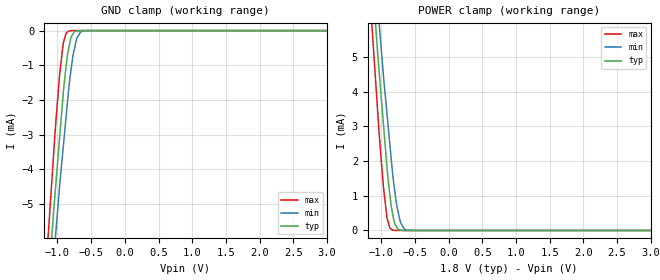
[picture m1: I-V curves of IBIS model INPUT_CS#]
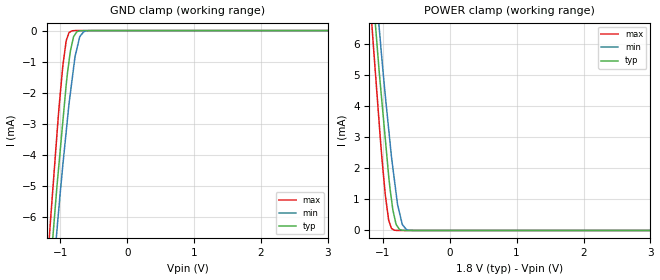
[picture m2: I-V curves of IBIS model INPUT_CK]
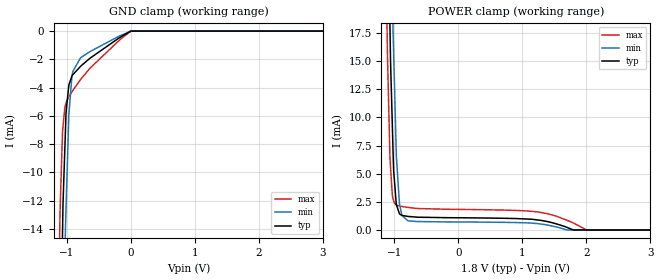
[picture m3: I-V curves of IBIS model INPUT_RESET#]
[IBIS ver] 4.0
[File name] s27ks0642ga-5j_85c.ibs
[File Rev] 1.0
[Date]  March 20, 2018
[Source] Cypress IBIS Team
[Notes]
CONTENTS:
These IBIS models are for the s27ks642 devices.
These models are for 24 ball BGA package
USAGE:
The models are derived for nominal 1.8V I/O voltage supplies.
The temperature range is -40 to 85C.
Package parasitics are included.
Refer to the model selector for the IO drive strength of interest.
Vinl and Vinh levels are VCCQ dependant and should be adjusted per datasheet
VERIFICATION
1. This model was syntax checked with IBISCHK V6.1.4
2. There are 0 parser errors and acceptable warnings.
HELP/QUESTIONS?
If there are any additional questions or concerns about using this
model, please create a technical support case at www.cypress.com/support
or call the technical support line at 408-943-2821 or 1-800-541-4763,
option 8.
[Disclaimer]   This information is for modeling purposes only and is not
   guaranteed.
[Component]   S27KS0642GA
[Manufacturer]  Cypress Semiconductor
[Package]
|   typ   min   max
R_pkg   222m   156m   290m
L_pkg   3.670n   2.140n   4.951n
C_pkg   0.430p   0.191p   0.647p
[Pin]  Signal_name   model_name   R_pin   L_pin   C_pin
D3   DQ0   DQ   190m   3.004n   0.347p
D2   DQ1   DQ   220m   3.818n   0.437p
C4   DQ2   DQ   162m   2.319n   0.369p
D4   DQ3   DQ   188m   2.928n   0.469p
D5   DQ4   DQ   278m   4.726n   0.647p
E3   DQ5   DQ   261m   4.156n   0.565p
E2   DQ6   DQ   249m   4.277n   0.412p
E1   DQ7   DQ   256m   4.599n   0.374p
C3   RWDS   DQ   157m   2.240n   0.439p
A3   CS#   INPUT_CS#   156m   2.683n   0.191p
B1   CK#   INPUT_CK   250m   4.302n   0.358p
B2   CK   INPUT_CK   248m   4.196n   0.354p
C5   PSC#   INPUT_CK   267m   4.719n   0.503p
B5   PSC   INPUT_CK   290m   4.951n   0.575p
A4   RESET#   INPUT_RESET# 157m   2.140n   0.404p
B4   VCC   POWER
D1   VCCQ   POWER
E4   VCCQ   POWER
B3   VSS   GND
C1   VSSQ   GND
E5   VSSQ   GND
|   Model Selector DQ
[Model Selector] DQ
ADQ_ds115   00-115ohm strength
ADQ_ds67   00-67ohm  strength
ADQ_ds46   00-46ohm  strength
ADQ_ds34   00-34ohm  strength (default)
ADQ_ds27   00-27ohm  strength
ADQ_ds22   00-22ohm  strength
ADQ_ds19   00-19ohm  strength
| Models and submodels in the file (10): INPUT_CS# (Input), INPUT_CK (Input), INPUT_RESET# (Input), ADQ_ds115 (I/O), ADQ_ds67 (I/O), ADQ_ds46 (I/O), ADQ_ds34 (I/O), ADQ_ds27 (I/O), ADQ_ds22 (I/O), ADQ_ds19 (I/O)
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[Model]   INPUT_CS#
Model_type   Input
Vinl = 0.54
Vinh = 1.26
|   typ   min   max
C_comp   0.63pF   0.62pF   0.64pF
[Voltage Range]   1.8   1.7   2
[Temperature Range]   25   85   -40
[Power Clamp Reference]   1.8   1.7   2
[GND Clamp Reference]   0   0   0
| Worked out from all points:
|   GND clamp passes 1 mA (typ) near -0.87 V on its own axis
|   POWER clamp passes 1 mA (typ) near -0.87 V on its own axis
[GND Clamp]
|   Voltage   I(typ)   I(min)   I(max)
-1.802V   -26.37mA   -25.79mA   -27.25mA
-1.156V   -7.863mA   -8.991mA   -6.417mA
-1.13V    -7.17mA    -8.341mA   -5.666mA
-1.079V   -5.799mA   -7.092mA   -4.183mA
-1.02V    -4.315mA   -5.699mA   -2.514mA
-966mV    -3.032mA   -4.428mA   -1.221mA
-916mV    -1.844mA   -3.383mA   -383.4uA
-828mV    -455.2uA   -1.585mA   -9.711uA
-769.8mV  -93.53uA   -713.8uA   -693.2nA
-717.1mV  -12.21uA   -242.1uA   -64.16nA
-604.9mV  -235.2nA   -8.837uA   0A
3.604V    0A         0A         0A
[POWER Clamp]
|   Voltage   I(typ)   I(min)   I(max)
-1.802V   26.37mA    25.79mA    27.25mA
-1.156V   7.863mA    8.991mA    6.417mA
-1.13V    7.17mA     8.341mA    5.666mA
-1.079V   5.799mA    7.092mA    4.183mA
-1.02V    4.315mA    5.699mA    2.514mA
-966mV    3.032mA    4.428mA    1.221mA
-916mV    1.844mA    3.383mA    383.4uA
-828mV    455.2uA    1.585mA    9.711uA
-769.8mV  93.53uA    713.8uA    692.9nA
-717.1mV  12.21uA    242.1uA    63.87nA
-604.9mV  235nA      8.837uA    0A
3.604V    0A         0A         0A
[Model]   INPUT_CK
Model_type   Input
Vinl = 0.54
Vinh = 1.26
|   typ   min   max
C_comp   0.63pF   0.62pF   0.64pF
[Voltage Range]   1.8   1.7   2
[Temperature Range]   25   85   -40
[Power Clamp Reference]   1.8   1.7   2
[GND Clamp Reference]   0   0   0
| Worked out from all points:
|   GND clamp passes 1 mA (typ) near -0.87 V on its own axis
|   POWER clamp passes 1 mA (typ) near -0.87 V on its own axis
[GND Clamp]
|   Voltage   I(typ)   I(min)   I(max)
-1.802V   -26.37mA   -25.8mA    -27.26mA
-1.176V   -8.4mA     -9.542mA   -7.027mA
-1.142V   -7.488mA   -8.704mA   -5.996mA
-1.05V    -5.03mA    -6.442mA   -3.355mA
-962mV    -2.938mA   -4.334mA   -1.136mA
-912mV    -1.754mA   -3.266mA   -331.3uA
-849.6mV  -667.7uA   -2.021mA   -38.34uA
-824mV    -416uA     -1.588mA   -7.322uA
-780mV    -127.7uA   -842.8uA   -921.1nA
-708.6mV  -8.319uA   -192.9uA   -42.86nA
-630.4mV  -553.8nA   -19.77uA   0A
3.604V    0A         0A         0A
[POWER Clamp]
|   Voltage   I(typ)   I(min)   I(max)
-1.802V   26.37mA    25.8mA     27.26mA
-1.176V   8.4mA      9.542mA    7.027mA
-1.142V   7.488mA    8.704mA    5.996mA
-1.05V    5.03mA     6.442mA    3.355mA
-962mV    2.938mA    4.334mA    1.136mA
-912mV    1.754mA    3.266mA    331.3uA
-849.6mV  667.7uA    2.021mA    38.34uA
-824mV    416uA      1.588mA    7.322uA
-780mV    127.7uA    842.8uA    920.8nA
-708.6mV  8.318uA    192.9uA    42.56nA
-630.4mV  553.6nA    19.77uA    0A
3.604V    0A         0A         0A
[Model]   INPUT_RESET#
Model_type   Input
Vinl = 0.54
Vinh = 1.26
|   typ   min   max
C_comp   0.73pF   0.72pF   0.74pF
[Voltage Range]   1.8   1.7   2
[Temperature Range]   25   85   -40
[Power Clamp Reference]   1.8   1.7   2
[GND Clamp Reference]   0   0   0
[GND Clamp]
|   Voltage   I(typ)   I(min)   I(max)
-1.802V   -341.4mA   -352.5mA   -331.7mA
-1.12V    -30.02mA   -45.77mA   -17.46mA
-1.104V   -25.49mA   -39.98mA   -12.96mA
-1.064V   -14.19mA   -26.78mA   -7.12mA
-1.057V   -12.23mA   -24.71mA   -6.769mA
-1.028V   -8.314mA   -16.63mA   -5.415mA
-1.01V    -5.821mA   -12.63mA   -5.106mA
-965.3mV  -3.816mA   -5.899mA   -4.652mA
-917.7mV  -3.187mA   -3.207mA   -4.3mA
-636mV    -1.922mA   -1.453mA   -2.63mA
8mV       0A         0A         0A
3.604V    0A         0A         0A
[POWER Clamp]
|   Voltage   I(typ)   I(min)   I(max)
-1.802V   387.5mA    400mA      376.9mA
-1.12V    37.84mA    57.11mA    21.43mA
-1.104V   32.1mA     50.23mA    15.53mA
-1.064V   17.68mA    34.21mA    6.253mA
-1.057V   15.12mA    31.58mA    5.594mA
-1.017V   6.995mA    17.7mA     2.751mA
-1.008V   5.315mA    15.75mA    2.593mA
-965.3mV  2.243mA    6.571mA    2.217mA
-917.7mV  1.45mA     2.37mA     2.127mA
-783.4mV  1.203mA    812.4uA    2.004mA
1.998V    0A         0A         0A
3.604V    0A         0A         0A
